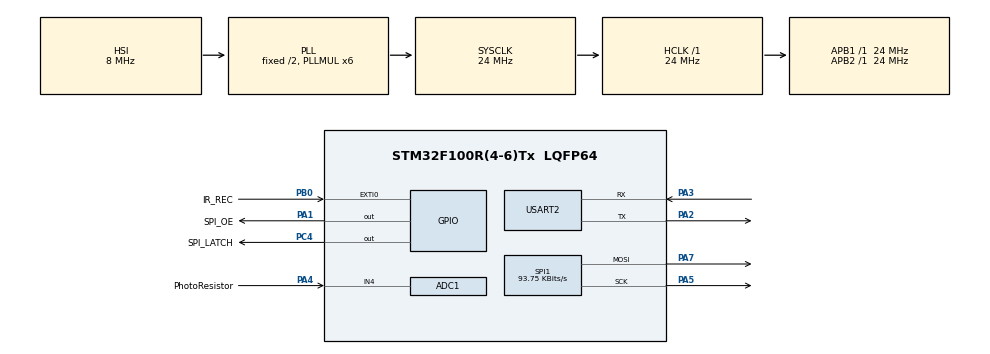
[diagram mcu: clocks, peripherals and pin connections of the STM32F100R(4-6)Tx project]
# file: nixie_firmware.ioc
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ADC1.Channel-0\#ChannelRegularConversion=ADC_CHANNEL_4
ADC1.NbrOfConversionFlag=1
ADC1.Rank-0\#ChannelRegularConversion=1
ADC1.SamplingTime-0\#ChannelRegularConversion=ADC_SAMPLETIME_1CYCLE_5
ADC1.master=1
IWDG.Prescaler=IWDG_PRESCALER_64
Mcu.Family=STM32F1
Mcu.Name=STM32F100R(4-6)Tx
Mcu.Package=LQFP64
NVIC.EXTI0_IRQn=true\:0\:0\:false\:false\:true\:true\:true\:true
NVIC.PriorityGroup=NVIC_PRIORITYGROUP_4
NVIC.TIM2_IRQn=true\:0\:0\:false\:false\:true\:true\:true\:true
NVIC.USART2_IRQn=true\:0\:0\:false\:false\:true\:true\:true\:true
PA1.GPIO_Label=SPI_OE
PA1.PinState=GPIO_PIN_SET
PA1.Signal=GPIO_Output
PA13.Mode=Serial_Wire
PA13.Signal=SYS_JTMS-SWDIO
PA14.Mode=Serial_Wire
PA14.Signal=SYS_JTCK-SWCLK
PA2.Mode=Asynchronous
PA2.Signal=USART2_TX
PA3.Mode=Asynchronous
PA3.Signal=USART2_RX
PA4.GPIO_Label=PhotoResistor
PA4.Signal=SharedAnalog_PA4
PA5.Mode=TX_Only_Simplex_Unidirect_Master
PA5.Signal=SPI1_SCK
PA6.Signal=SPI1_MISO
PA7.Mode=TX_Only_Simplex_Unidirect_Master
PA7.Signal=SPI1_MOSI
PB0.GPIO_Label=IR_REC
PB0.GPIO_ModeDefaultEXTI=GPIO_MODE_IT_FALLING
PB0.GPIO_PuPd=GPIO_PULLUP
PB0.Signal=GPXTI0
PC14-OSC32_IN.Mode=LSE-External-Oscillator
PC14-OSC32_IN.Signal=RCC_OSC32_IN
PC15-OSC32_OUT.Mode=LSE-External-Oscillator
PC15-OSC32_OUT.Signal=RCC_OSC32_OUT
PC4.GPIO_Label=SPI_LATCH
PC4.PinState=GPIO_PIN_SET
PC4.Signal=GPIO_Output
ProjectManager.HeapSize=0x200
ProjectManager.StackSize=0x400
ProjectManager.TargetToolchain=STM32CubeIDE
RCC.AHBFreq_Value=24000000
RCC.APB1Freq_Value=24000000
RCC.APB1TimFreq_Value=24000000
RCC.APB2Freq_Value=24000000
RCC.APB2TimFreq_Value=24000000
RCC.HCLKFreq_Value=24000000
RCC.PLLMUL=RCC_PLL_MUL6
RCC.RTCClockSelection=RCC_RTCCLKSOURCE_LSE
RCC.SYSCLKFreq_VALUE=24000000
RCC.SYSCLKSource=RCC_SYSCLKSOURCE_PLLCLK
RTC.Format=RTC_FORMAT_BIN
SH.SharedAnalog_PA4.0=GPIO_Analog
SH.SharedAnalog_PA4.1=ADC1_IN4,IN4
SPI1.BaudRatePrescaler=SPI_BAUDRATEPRESCALER_256
SPI1.CalculateBaudRate=93.75 KBits/s
SPI1.Direction=SPI_DIRECTION_2LINES
SPI1.Mode=SPI_MODE_MASTER
SPI1.VirtualType=VM_MASTER
TIM1.Prescaler=23
TIM2.AutoReloadPreload=TIM_AUTORELOAD_PRELOAD_ENABLE
TIM2.Period=9999
TIM2.Prescaler=239
USART2.VirtualMode=VM_ASYNC
VP_IWDG_VS_IWDG.Mode=IWDG_Activate
VP_RTC_VS_RTC_Activate.Mode=RTC_Enabled
VP_TIM1_VS_ClockSourceINT.Mode=Internal
VP_TIM2_VS_ClockSourceINT.Mode=Internal
board=custom

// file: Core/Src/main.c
/* USER CODE BEGIN Header */
/**
  ******************************************************************************
  * @file           : main.c
  * @brief          : Main program body
  ******************************************************************************
  * @attention
  *
  * Copyright (c) 2023 STMicroelectronics.
  * All rights reserved.
  *
  * This software is licensed under terms that can be found in the LICENSE file
  * in the root directory of this software component.
  * If no LICENSE file comes with this software, it is provided AS-IS.
  *
  ******************************************************************************
  */
/* USER CODE END Header */
#include "main.h"

/* USER CODE BEGIN Includes */
#include <stdio.h>

#include "serial.h"
#include "cli.h"
/* USER CODE END Includes */

/* USER CODE BEGIN PTD */
typedef enum {
  REMOTE_IDLE,
  REMOTE_INC_H,
  REMOTE_DEC_H,
  REMOTE_INC_M,
  REMOTE_DEC_M,
  REMOTE_MENU,
  REMOTE_EXIT
} remoteAction_t;

/* USER CODE END PTD */

/* USER CODE BEGIN PD */
#define BLINK_IDLE 0
/* USER CODE END PD */

ADC_HandleTypeDef hadc1;

IWDG_HandleTypeDef hiwdg;

RTC_HandleTypeDef hrtc;

SPI_HandleTypeDef hspi1;

TIM_HandleTypeDef htim1;
TIM_HandleTypeDef htim2;

UART_HandleTypeDef huart2;

/* USER CODE BEGIN PV */
RTC_TimeTypeDef time;
volatile uint8_t signs[4] = {1, 2, 3, 4};
volatile bool signDot = true;
volatile remoteAction_t remoteAction = REMOTE_IDLE;
volatile uint8_t timeSyncBlinkCount = 0;
/* USER CODE END PV */

void SystemClock_Config(void);
static void MX_GPIO_Init(void);
static void MX_RTC_Init(void);
static void MX_TIM1_Init(void);
static void MX_TIM2_Init(void);
static void MX_ADC1_Init(void);
static void MX_USART2_UART_Init(void);
static void MX_SPI1_Init(void);
static void MX_IWDG_Init(void);

/* USER CODE BEGIN 0 */
void commandGT(char *args)
{
  char timeString[16];
  sprintf(timeString, "%02d %02d %02d\r\n", time.Hours, time.Minutes, time.Seconds);
  UART_WriteString(&huart2, timeString);
}
CLI_CommandItem item_GT = { .callback = commandGT,
                            .commandName = "GT",
                            .description = "Get time in format HH MM SS"};

void commandST(char *args)
{
  // char timeString[16];
  int32_t idx = 0;
  time.Hours   = getNumber(args, &idx);
  time.Minutes = getNumber(args, &idx);
  time.Seconds = getNumber(args, &idx);
  // sprintf(timeString, "%02d %02d %02d\r\n", time.Hours, time.Minutes, time.Seconds);
  // UART_WriteString(&huart2, timeString);
  HAL_RTC_SetTime(&hrtc, &time, RTC_FORMAT_BIN);
  timeSyncBlinkCount = 20;
}
CLI_CommandItem item_ST = { .callback = commandST,
                            .commandName = "ST",
                            .description = "Set time in format HH MM SS"};

void commandHELP(char *args)
{
  CLI_PrintAllCommands();
}
CLI_CommandItem item_HELP = {   .callback = commandHELP,
                .commandName = "?",
                .description = "Display this help"};
/* USER CODE END 0 */

int main(void)
{
  /* USER CODE BEGIN 1 */
  uint32_t lastTickDot = 0;
  uint32_t lastTickRefresh = 0;
  uint32_t lastTickMenu = 0;
  bool inMenu = false;
  /* USER CODE END 1 */

  /* MCU Configuration--------------------------------------------------------*/

  /* Reset of all peripherals, Initializes the Flash interface and the Systick. */
  HAL_Init();

  /* Configure the system clock */
  SystemClock_Config();

  /* Initialize all configured peripherals */
  MX_GPIO_Init();
  MX_RTC_Init();
  MX_TIM1_Init();
  MX_TIM2_Init();
  MX_ADC1_Init();
  MX_USART2_UART_Init();
  MX_SPI1_Init();
  MX_IWDG_Init();
  /* USER CODE BEGIN 2 */
  HAL_TIM_Base_Start(&htim1);
  HAL_TIM_Base_Start_IT(&htim2);

  CLI_AddCommand(&item_ST);
  CLI_AddCommand(&item_GT);
  CLI_AddCommand(&item_HELP);
  UART_Init(&huart2);
  /* USER CODE END 2 */

  /* Infinite loop */
  /* USER CODE BEGIN WHILE */
  while (1)
  {
    HAL_IWDG_Refresh(&hiwdg);
    CLI_Proc();
    /* refresh every 25ms */
    if (HAL_GetTick() - lastTickRefresh > 25)
    {
      lastTickRefresh = HAL_GetTick();

      /* if more than 15s without remote activity - turn of menu */
      if (HAL_GetTick() - lastTickMenu > 15000)
      {
        inMenu = false;
      }

      /* toggle dot every 500ms (100ms when in menu) */
      if (HAL_GetTick() - lastTickDot > ((inMenu || timeSyncBlinkCount > 0)?100:500))
      {
        lastTickDot = HAL_GetTick();
        __disable_irq();
        if (timeSyncBlinkCount > 0)
        {
          timeSyncBlinkCount--;
        }
        #if BLINK_IDLE == 1
          signDot = !signDot;
        #else
          if (inMenu || timeSyncBlinkCount > 0)
          {
            signDot = !signDot;
          }
          else
          {
            signDot = true;
          }
        #endif
        __enable_irq();
      }

      HAL_RTC_GetTime(&hrtc, &time, RTC_FORMAT_BIN);

      __disable_irq();
      signs[0] = time.Hours/10;
      signs[1] = time.Hours%10;
      signs[2] = time.Minutes/10;
      signs[3] = time.Minutes%10;

      if (remoteAction != REMOTE_IDLE)
      {
        lastTickMenu = HAL_GetTick();
        switch(remoteAction)
        {
          case REMOTE_DEC_H:
            if (time.Hours > 0)
            {
              time.Hours--;
            }
            else
            {
              time.Hours = 23;
            }
            time.Seconds = 0;
            break;
          case REMOTE_INC_H:
            if (time.Hours < 23)
            {
              time.Hours++;
            }
            else
            {
              time.Hours = 0;
            }
            time.Seconds = 0;
            break;
          case REMOTE_DEC_M:
            if (time.Minutes > 0)
            {
              time.Minutes--;
            }
            else
            {
              time.Minutes = 59;
            }
            time.Seconds = 0;
            break;
          case REMOTE_INC_M:
            if (time.Minutes < 59)
            {
              time.Minutes++;
            }
            else
            {
              time.Minutes = 0;
            }
            time.Seconds = 0;
            break;
          case REMOTE_EXIT:
            inMenu = false;
            break;
          default:
          case REMOTE_IDLE:
            break;
        }
        if (inMenu) HAL_RTC_SetTime(&hrtc, &time, RTC_FORMAT_BIN);
        if (!inMenu && remoteAction == REMOTE_MENU)
        {
          inMenu = true;
        }
        remoteAction = REMOTE_IDLE;
      }

      __enable_irq();
    }
    /* USER CODE END WHILE */

  }
}

void SystemClock_Config(void)
{
  RCC_OscInitTypeDef RCC_OscInitStruct = {0};
  RCC_ClkInitTypeDef RCC_ClkInitStruct = {0};
  RCC_PeriphCLKInitTypeDef PeriphClkInit = {0};

  /** Initializes the RCC Oscillators according to the specified parameters
  * in the RCC_OscInitTypeDef structure.
  */
  RCC_OscInitStruct.OscillatorType = RCC_OSCILLATORTYPE_HSI|RCC_OSCILLATORTYPE_LSI
                              |RCC_OSCILLATORTYPE_LSE;
  RCC_OscInitStruct.LSEState = RCC_LSE_ON;
  RCC_OscInitStruct.HSIState = RCC_HSI_ON;
  RCC_OscInitStruct.HSICalibrationValue = RCC_HSICALIBRATION_DEFAULT;
  RCC_OscInitStruct.LSIState = RCC_LSI_ON;
  RCC_OscInitStruct.PLL.PLLState = RCC_PLL_ON;
  RCC_OscInitStruct.PLL.PLLSource = RCC_PLLSOURCE_HSI_DIV2;
  RCC_OscInitStruct.PLL.PLLMUL = RCC_PLL_MUL6;
  if (HAL_RCC_OscConfig(&RCC_OscInitStruct) != HAL_OK)
  {
    Error_Handler();
  }

  /** Initializes the CPU, AHB and APB buses clocks
  */
  RCC_ClkInitStruct.ClockType = RCC_CLOCKTYPE_HCLK|RCC_CLOCKTYPE_SYSCLK
                              |RCC_CLOCKTYPE_PCLK1|RCC_CLOCKTYPE_PCLK2;
  RCC_ClkInitStruct.SYSCLKSource = RCC_SYSCLKSOURCE_PLLCLK;
  RCC_ClkInitStruct.AHBCLKDivider = RCC_SYSCLK_DIV1;
  RCC_ClkInitStruct.APB1CLKDivider = RCC_HCLK_DIV1;
  RCC_ClkInitStruct.APB2CLKDivider = RCC_HCLK_DIV1;

  if (HAL_RCC_ClockConfig(&RCC_ClkInitStruct, FLASH_LATENCY_0) != HAL_OK)
  {
    Error_Handler();
  }
  PeriphClkInit.PeriphClockSelection = RCC_PERIPHCLK_RTC|RCC_PERIPHCLK_ADC;
  PeriphClkInit.RTCClockSelection = RCC_RTCCLKSOURCE_LSE;
  PeriphClkInit.AdcClockSelection = RCC_ADCPCLK2_DIV2;
  if (HAL_RCCEx_PeriphCLKConfig(&PeriphClkInit) != HAL_OK)
  {
    Error_Handler();
  }
}

static void MX_ADC1_Init(void)
{

  ADC_ChannelConfTypeDef sConfig = {0};

  /** Common config
  */
  hadc1.Instance = ADC1;
  hadc1.Init.ScanConvMode = ADC_SCAN_DISABLE;
  hadc1.Init.ContinuousConvMode = DISABLE;
  hadc1.Init.DiscontinuousConvMode = DISABLE;
  hadc1.Init.ExternalTrigConv = ADC_SOFTWARE_START;
  hadc1.Init.DataAlign = ADC_DATAALIGN_RIGHT;
  hadc1.Init.NbrOfConversion = 1;
  if (HAL_ADC_Init(&hadc1) != HAL_OK)
  {
    Error_Handler();
  }

  /** Configure Regular Channel
  */
  sConfig.Channel = ADC_CHANNEL_4;
  sConfig.Rank = ADC_REGULAR_RANK_1;
  sConfig.SamplingTime = ADC_SAMPLETIME_1CYCLE_5;
  if (HAL_ADC_ConfigChannel(&hadc1, &sConfig) != HAL_OK)
  {
    Error_Handler();
  }

}

static void MX_IWDG_Init(void)
{

  hiwdg.Instance = IWDG;
  hiwdg.Init.Prescaler = IWDG_PRESCALER_64;
  hiwdg.Init.Reload = 4095;
  if (HAL_IWDG_Init(&hiwdg) != HAL_OK)
  {
    Error_Handler();
  }

}

static void MX_RTC_Init(void)
{

  /** Initialize RTC Only
  */
  hrtc.Instance = RTC;
  hrtc.Init.AsynchPrediv = RTC_AUTO_1_SECOND;
  hrtc.Init.OutPut = RTC_OUTPUTSOURCE_ALARM;
  if (HAL_RTC_Init(&hrtc) != HAL_OK)
  {
    Error_Handler();
  }

}

static void MX_SPI1_Init(void)
{

  /* SPI1 parameter configuration*/
  hspi1.Instance = SPI1;
  hspi1.Init.Mode = SPI_MODE_MASTER;
  hspi1.Init.Direction = SPI_DIRECTION_2LINES;
  hspi1.Init.DataSize = SPI_DATASIZE_8BIT;
  hspi1.Init.CLKPolarity = SPI_POLARITY_LOW;
  hspi1.Init.CLKPhase = SPI_PHASE_1EDGE;
  hspi1.Init.NSS = SPI_NSS_SOFT;
  hspi1.Init.BaudRatePrescaler = SPI_BAUDRATEPRESCALER_256;
  hspi1.Init.FirstBit = SPI_FIRSTBIT_MSB;
  hspi1.Init.TIMode = SPI_TIMODE_DISABLE;
  hspi1.Init.CRCCalculation = SPI_CRCCALCULATION_DISABLE;
  hspi1.Init.CRCPolynomial = 10;
  if (HAL_SPI_Init(&hspi1) != HAL_OK)
  {
    Error_Handler();
  }

}

static void MX_TIM1_Init(void)
{

  TIM_ClockConfigTypeDef sClockSourceConfig = {0};
  TIM_MasterConfigTypeDef sMasterConfig = {0};

  htim1.Instance = TIM1;
  htim1.Init.Prescaler = 23;
  htim1.Init.CounterMode = TIM_COUNTERMODE_UP;
  htim1.Init.Period = 65535;
  htim1.Init.ClockDivision = TIM_CLOCKDIVISION_DIV1;
  htim1.Init.RepetitionCounter = 0;
  htim1.Init.AutoReloadPreload = TIM_AUTORELOAD_PRELOAD_DISABLE;
  if (HAL_TIM_Base_Init(&htim1) != HAL_OK)
  {
    Error_Handler();
  }
  sClockSourceConfig.ClockSource = TIM_CLOCKSOURCE_INTERNAL;
  if (HAL_TIM_ConfigClockSource(&htim1, &sClockSourceConfig) != HAL_OK)
  {
    Error_Handler();
  }
  sMasterConfig.MasterOutputTrigger = TIM_TRGO_RESET;
  sMasterConfig.MasterSlaveMode = TIM_MASTERSLAVEMODE_DISABLE;
  if (HAL_TIMEx_MasterConfigSynchronization(&htim1, &sMasterConfig) != HAL_OK)
  {
    Error_Handler();
  }

}

static void MX_TIM2_Init(void)
{

  TIM_ClockConfigTypeDef sClockSourceConfig = {0};
  TIM_MasterConfigTypeDef sMasterConfig = {0};

  htim2.Instance = TIM2;
  htim2.Init.Prescaler = 239;
  htim2.Init.CounterMode = TIM_COUNTERMODE_UP;
  htim2.Init.Period = 9999;
  htim2.Init.ClockDivision = TIM_CLOCKDIVISION_DIV1;
  htim2.Init.AutoReloadPreload = TIM_AUTORELOAD_PRELOAD_ENABLE;
  if (HAL_TIM_Base_Init(&htim2) != HAL_OK)
  {
    Error_Handler();
  }
  sClockSourceConfig.ClockSource = TIM_CLOCKSOURCE_INTERNAL;
  if (HAL_TIM_ConfigClockSource(&htim2, &sClockSourceConfig) != HAL_OK)
  {
    Error_Handler();
  }
  sMasterConfig.MasterOutputTrigger = TIM_TRGO_RESET;
  sMasterConfig.MasterSlaveMode = TIM_MASTERSLAVEMODE_DISABLE;
  if (HAL_TIMEx_MasterConfigSynchronization(&htim2, &sMasterConfig) != HAL_OK)
  {
    Error_Handler();
  }

}

static void MX_USART2_UART_Init(void)
{

  huart2.Instance = USART2;
  huart2.Init.BaudRate = 115200;
  huart2.Init.WordLength = UART_WORDLENGTH_8B;
  huart2.Init.StopBits = UART_STOPBITS_1;
  huart2.Init.Parity = UART_PARITY_NONE;
  huart2.Init.Mode = UART_MODE_TX_RX;
  huart2.Init.HwFlowCtl = UART_HWCONTROL_NONE;
  huart2.Init.OverSampling = UART_OVERSAMPLING_16;
  if (HAL_UART_Init(&huart2) != HAL_OK)
  {
    Error_Handler();
  }

}

static void MX_GPIO_Init(void)
{
  GPIO_InitTypeDef GPIO_InitStruct = {0};

  /* GPIO Ports Clock Enable */
  __HAL_RCC_GPIOC_CLK_ENABLE();
  __HAL_RCC_GPIOA_CLK_ENABLE();
  __HAL_RCC_GPIOB_CLK_ENABLE();

  /*Configure GPIO pin Output Level */
  HAL_GPIO_WritePin(SPI_OE_GPIO_Port, SPI_OE_Pin, GPIO_PIN_SET);

  /*Configure GPIO pin Output Level */
  HAL_GPIO_WritePin(SPI_LATCH_GPIO_Port, SPI_LATCH_Pin, GPIO_PIN_SET);

  /*Configure GPIO pin : SPI_OE_Pin */
  GPIO_InitStruct.Pin = SPI_OE_Pin;
  GPIO_InitStruct.Mode = GPIO_MODE_OUTPUT_PP;
  GPIO_InitStruct.Pull = GPIO_NOPULL;
  GPIO_InitStruct.Speed = GPIO_SPEED_FREQ_LOW;
  HAL_GPIO_Init(SPI_OE_GPIO_Port, &GPIO_InitStruct);

  /*Configure GPIO pin : SPI_LATCH_Pin */
  GPIO_InitStruct.Pin = SPI_LATCH_Pin;
  GPIO_InitStruct.Mode = GPIO_MODE_OUTPUT_PP;
  GPIO_InitStruct.Pull = GPIO_NOPULL;
  GPIO_InitStruct.Speed = GPIO_SPEED_FREQ_LOW;
  HAL_GPIO_Init(SPI_LATCH_GPIO_Port, &GPIO_InitStruct);

  /*Configure GPIO pin : IR_REC_Pin */
  GPIO_InitStruct.Pin = IR_REC_Pin;
  GPIO_InitStruct.Mode = GPIO_MODE_IT_FALLING;
  GPIO_InitStruct.Pull = GPIO_PULLUP;
  HAL_GPIO_Init(IR_REC_GPIO_Port, &GPIO_InitStruct);

  /* EXTI interrupt init*/
  HAL_NVIC_SetPriority(EXTI0_IRQn, 0, 0);
  HAL_NVIC_EnableIRQ(EXTI0_IRQn);

}

/* USER CODE BEGIN 4 */
#define PULSE_US_START  13500
#define PULSE_US_REPEAT 11250
#define PULSE_US_0       1120
#define PULSE_US_1       2250
#define PULSE_US_TOL      500

typedef enum {
  NEC_START,
  NEC_REPEAT,
  NEC_0,
  NEC_1,
  NEC_ERROR,
} necPulse_t;

necPulse_t necPulseDecode(uint16_t pulse_us)
{
  if (pulse_us > PULSE_US_0 - PULSE_US_TOL && pulse_us < PULSE_US_0 + PULSE_US_TOL)
  {
    return NEC_0;
  }
  else if (pulse_us > PULSE_US_1 - PULSE_US_TOL && pulse_us < PULSE_US_1 + PULSE_US_TOL)
  {
    return NEC_1;
  }
  else if (pulse_us > PULSE_US_REPEAT - PULSE_US_TOL && pulse_us < PULSE_US_REPEAT + PULSE_US_TOL)
  {
    return NEC_REPEAT;
  }
  else if (pulse_us > PULSE_US_START - PULSE_US_TOL && pulse_us < PULSE_US_START + PULSE_US_TOL)
  {
    return NEC_START;
  }
  else
  {
    return NEC_ERROR;
  }
}

#define NEC_BITS 32
#define NEC_DEBOUNCE_MS 250

void necCallback(uint8_t address, uint8_t command)
{
  static uint32_t debounce = 0;
  if (address == 0x77 && (HAL_GetTick() - debounce > NEC_DEBOUNCE_MS))
  {
    debounce = HAL_GetTick();
    switch (command)
    {
      case 0x8D: /* DOWN */
        remoteAction = REMOTE_INC_H;
        break;
      case 0x8E: /* UP */
        remoteAction = REMOTE_DEC_H;
        break;
      case 0x90: /* VOL+ */
        remoteAction = REMOTE_INC_M;
        break;
      case 0x8F: /* VOL- */
        remoteAction = REMOTE_DEC_M;
        break;
      case 0x95: /* MENU */
        remoteAction = REMOTE_MENU;
        break;
      case 0x96: /* EXIT */
        remoteAction = REMOTE_EXIT;
        break;
      default:
        remoteAction = REMOTE_IDLE;
        break;
    }
  }
}

void HAL_GPIO_EXTI_Callback(uint16_t GPIO_Pin)
{
  static uint16_t last = 0;
  static uint32_t data;
  static uint8_t counter = 0;
  necPulse_t pulse;
  if (GPIO_Pin == IR_REC_Pin)
  {
    pulse = necPulseDecode(__HAL_TIM_GET_COUNTER(&htim1) - last);
    last = __HAL_TIM_GET_COUNTER(&htim1);
    if (counter == 0)
    {
      if (pulse == NEC_START)
      {
        data = 0;
        counter = NEC_BITS;
      }
      else if (pulse == NEC_REPEAT)
      {
        /* repeat not supported now */
      }
    }
    else
    {
      if (pulse == NEC_ERROR || pulse == NEC_REPEAT)
      {
        /* error - exit decoding immedetely (also we do not except REPEAT here...) */
        counter = 0;
        return;
      }
      data >>=1;
      data |= (pulse==NEC_1)?(1UL<<31):0;
      counter--;
      if (counter == 0)
      {
        /* all bits shall be collected by now - verify negated parts */
        uint8_t address, address_neg, command, command_neg;
        command = ~(data>>24);
        command_neg = data>>16;
        address = ~(data>>8);
        address_neg = data;
        if (command == command_neg && address == address_neg)
        {
          necCallback(address, command);
        }
      }
    }
  }
}

#define U7 0
#define U6 1
#define U5 2
#define U4 3

#define QA 0
#define QB 1
#define QC 2
#define QD 3
#define QE 4
#define QF 5
#define QG 6
#define QH 7

#define DG0 0
#define DG1 (1UL<<((8 * U4) + QA))
#define DG2 (1UL<<((8 * U4) + QB))

#define JG1 (1UL<<((8 * U4) + QC))
#define JG2 (1UL<<((8 * U4) + QD))
#define JG3 (1UL<<((8 * U4) + QE))
#define JG4 (1UL<<((8 * U4) + QF))
#define JG5 (1UL<<((8 * U4) + QG))
#define JG6 (1UL<<((8 * U4) + QH))
#define JG7 (1UL<<((8 * U5) + QA))
#define JG8 (1UL<<((8 * U5) + QB))
#define JG9 (1UL<<((8 * U5) + QC))
#define JG0 (1UL<<((8 * U5) + QD))

#define DOT (1UL<<((8 * U5) + QE))

#define DM1 (1UL<<((8 * U5) + QF))
#define DM2 (1UL<<((8 * U5) + QG))
#define DM3 (1UL<<((8 * U5) + QH))
#define DM4 (1UL<<((8 * U6) + QA))
#define DM5 (1UL<<((8 * U6) + QB))
#define DM0 (1UL<<((8 * U6) + QC))

#define JM1 (1UL<<((8 * U6) + QD))
#define JM2 (1UL<<((8 * U6) + QE))
#define JM3 (1UL<<((8 * U6) + QF))
#define JM4 (1UL<<((8 * U6) + QG))
#define JM5 (1UL<<((8 * U6) + QH))
#define JM6 (1UL<<((8 * U7) + QA))
#define JM7 (1UL<<((8 * U7) + QB))
#define JM8 (1UL<<((8 * U7) + QC))
#define JM9 (1UL<<((8 * U7) + QD))
#define JM0 (1UL<<((8 * U7) + QE))

const uint32_t DG_LUT[] = {DG0, DG1, DG2};
const uint32_t JG_LUT[] = {JG0, JG1, JG2, JG3, JG4, JG5, JG6, JG7, JG8, JG9};
const uint32_t DM_LUT[] = {DM0, DM1, DM2, DM3, DM4, DM5};
const uint32_t JM_LUT[] = {JM0, JM1, JM2, JM3, JM4, JM5, JM6, JM7, JM8, JM9};

void HAL_TIM_PeriodElapsedCallback(TIM_HandleTypeDef *htim)
{
  if (htim == &htim2)
  {
    /* Here transfer sign configuration over SPI */
    uint32_t dataSPI = 0x00000000;

    dataSPI |= DG_LUT[signs[0]];
    dataSPI |= JG_LUT[signs[1]];
    dataSPI |= DM_LUT[signs[2]];
    dataSPI |= JM_LUT[signs[3]];
    dataSPI |= signDot?DOT:0UL;

    HAL_GPIO_WritePin(SPI_LATCH_GPIO_Port, SPI_LATCH_Pin, GPIO_PIN_RESET);
    HAL_SPI_Transmit(&hspi1, (uint8_t*)&dataSPI, 4, 10000UL);
    HAL_GPIO_WritePin(SPI_LATCH_GPIO_Port, SPI_LATCH_Pin, GPIO_PIN_SET);
    HAL_GPIO_WritePin(SPI_OE_GPIO_Port, SPI_OE_Pin, GPIO_PIN_RESET);
  }
}
/* USER CODE END 4 */

void Error_Handler(void)
{
  __disable_irq();
  while (1)
  {
  }
}
